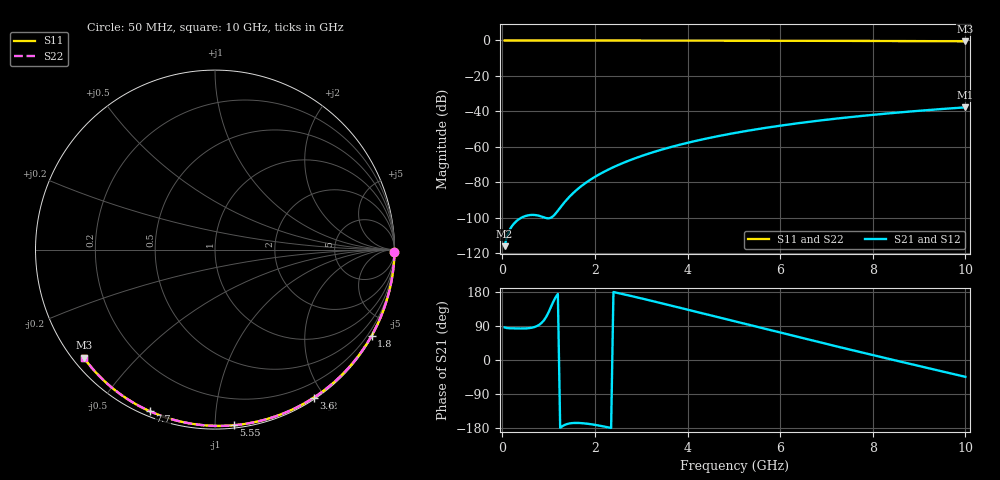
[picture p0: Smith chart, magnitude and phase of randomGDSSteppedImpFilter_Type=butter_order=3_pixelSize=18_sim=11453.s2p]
! freq	dB(S11)	phase(S11)	dB(S12)	phase(S12)
!  dB(S21)	phase(S21)	dB(S22)	phase(S22)
!S-par simulation data
#  GHz  S  DB  R 50
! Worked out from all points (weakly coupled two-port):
!   200 points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, 50 MHz to 10 GHz, reference 50 ohm
!   highest |S21| = -37.70 dB at 10 GHz (marker M1); lowest = -115.9 dB at 50 MHz (marker M2)
!   lowest |S11| = -0.5 dB at 10 GHz (marker M3), VSWR 36.75, Z = 1.54 - j17.9 ohm
!   |S11| at or under -10 dB: nowhere
!   |S22| runs from -0.5 to 0.0 dB; largest |S21 - S12| = 0
!   S11 on the Smith chart (normalised r, x): 50 MHz: open; 1.8 GHz: 0.03, -3.89; 3.6 GHz: 0.02, -1.87; 5.55 GHz: 0.02, -1.11; 7.7 GHz: 0.02, -0.67; 10 GHz: 0.03, -0.36
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0.05  -0.00 -0.8  -115.93 86.0  -115.93 86.0  -0.00 -0.8
0.45  -0.01 -7.3  -99.43 83.1  -99.43 83.1  -0.01 -7.3
0.9  -0.02 -14.5  -99.72 105.0  -99.72 105.0  -0.02 -14.5
1.75  -0.04 -28.0  -81.22 -167.0  -81.22 -167.0  -0.04 -28.0
1.8  -0.04 -28.8  -80.27 -167.6  -80.27 -167.6  -0.04 -28.8
1.85  -0.04 -29.6  -79.37 -168.4  -79.37 -168.4  -0.04 -29.6
2  -0.04 -31.9  -76.88 -171.1  -76.88 -171.1  -0.04 -31.9
2.15  -0.04 -34.3  -74.65 -174.4  -74.65 -174.4  -0.04 -34.3
2.35  -0.05 -37.4  -72.01 -179.3  -72.01 -179.3  -0.05 -37.4
2.55  -0.05 -40.4  -69.66 175.4  -69.66 175.4  -0.05 -40.4
2.95  -0.06 -46.5  -65.62 164.1  -65.62 164.1  -0.06 -46.5
3.4  -0.07 -53.3  -61.84 150.9  -61.84 150.9  -0.07 -53.3
3.6  -0.08 -56.3  -60.36 144.9  -60.36 144.9  -0.08 -56.3
4.3  -0.09 -66.4  -55.88 123.7  -55.88 123.7  -0.09 -66.4
5.05  -0.12 -77.0  -52.00 101.0  -52.00 101.0  -0.12 -77.0
5.55  -0.14 -83.9  -49.81 85.8  -49.81 85.8  -0.14 -83.9
6.1  -0.16 -91.3  -47.67 69.2  -47.67 69.2  -0.16 -91.3
6.7  -0.19 -99.2  -45.61 51.3  -45.61 51.3  -0.19 -99.2
7.7  -0.26 -112.0  -42.69 21.8  -42.69 21.8  -0.26 -112.0
8.35  -0.31 -120.2  -41.07 2.9  -41.07 2.9  -0.31 -120.2
9.2  -0.39 -130.7  -39.21 -21.6  -39.21 -21.6  -0.39 -130.7
10  -0.47 -140.5  -37.70 -44.4  -37.70 -44.4  -0.47 -140.5
